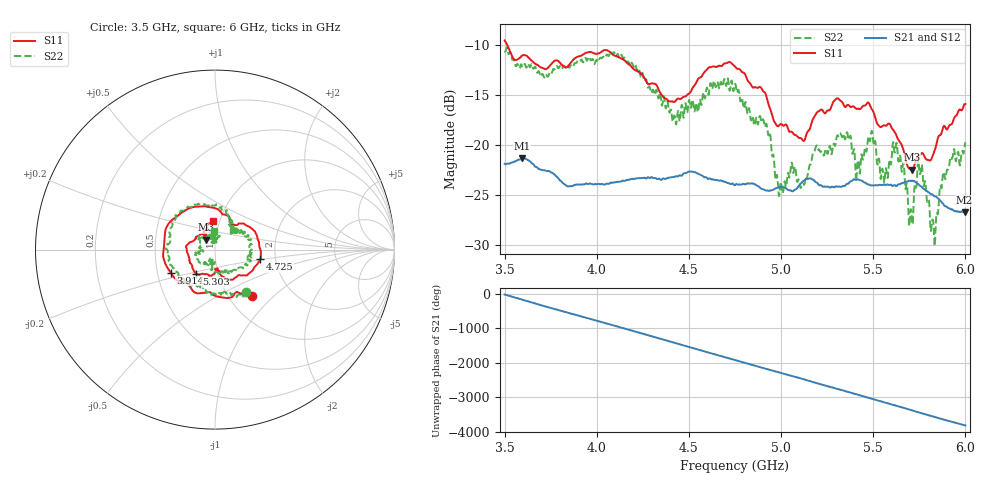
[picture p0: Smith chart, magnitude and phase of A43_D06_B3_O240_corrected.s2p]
! Created with skrf 1.9.0 (http://scikit-rf.org).
# Hz S RI R 50.0
!freq ReS11 ImS11 ReS21 ImS21 ReS12 ImS12 ReS22 ImS22
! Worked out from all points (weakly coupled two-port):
!   1601 points, 3.5 GHz to 6 GHz, reference 50 ohm
!   highest |S21| = -21.34 dB at 3.594 GHz (marker M1); lowest = -26.7 dB at 5.995 GHz (marker M2)
!   lowest |S11| = -22.5 dB at 5.711 GHz (marker M3), VSWR 1.16, Z = 44.9 + j5.03 ohm
!   |S11| at or under -10 dB: 3.513 GHz to end of sweep
!   |S22| runs from -30.1 to -10.3 dB; largest |S21 - S12| = 0.00094
!   S11 on the Smith chart (normalised r, x): 3.5 GHz: 1.28, -0.75; 3.914 GHz: 0.59, -0.16; 4.725 GHz: 1.66, -0.19; 5.303 GHz: 0.78, -0.22; 6 GHz: 0.93, +0.30
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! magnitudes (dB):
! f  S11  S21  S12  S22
! 3.5 GHz  -9.6  -21.9  -21.9  -10.6
! 3.594 GHz  -11.1  -21.3  -21.3  -12.1
! 3.914 GHz  -11.1  -24.0  -23.9  -11.5
! 3.917 GHz  -11.1  -24.0  -23.9  -11.5
! 4.141 GHz  -11.5  -23.6  -23.6  -11.3
! 4.334 GHz  -14.4  -23.4  -23.3  -15.4
! 4.422 GHz  -15.7  -23.2  -23.1  -17.1
! 4.725 GHz  -11.8  -23.9  -23.8  -14.3
! 4.75 GHz  -12.2  -24.0  -23.9  -13.9
! 4.93 GHz  -15.8  -24.6  -24.5  -18.9
! 4.998 GHz  -17.9  -24.2  -24.2  -23.7
! 5.167 GHz  -17.7  -23.4  -23.4  -21.4
! 5.303 GHz  -15.4  -24.2  -24.1  -19.1
! 5.486 GHz  -16.2  -24.0  -24.0  -19.2
! 5.584 GHz  -17.9  -24.0  -23.9  -22.0
! 5.619 GHz  -18.8  -24.0  -24.0  -20.7
! 5.711 GHz  -22.5  -23.6  -23.5  -27.7
! 5.753 GHz  -21.0  -24.1  -24.0  -22.9
! 5.827 GHz  -20.9  -25.0  -25.0  -27.9
! 5.873 GHz  -18.6  -25.8  -25.7  -23.8
! 5.995 GHz  -15.9  -26.7  -26.6  -20.2
! 6 GHz  -15.9  -26.7  -26.7  -19.7
